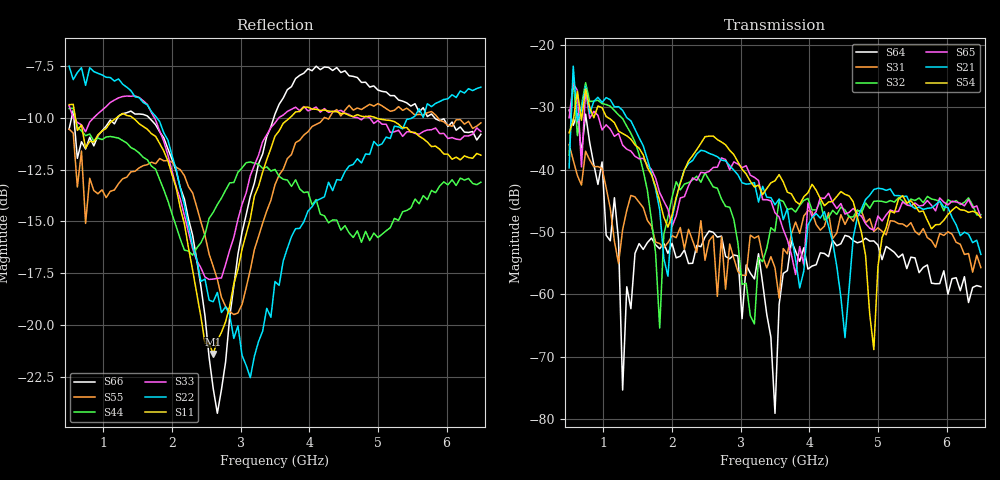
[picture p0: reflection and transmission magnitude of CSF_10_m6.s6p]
!Keysight Technologies,M9804A,MY58100912,A.14.10.03
!Date: Thursday, April 27, 2023 10:28:33
!Correction: S11(C  6-Port  )
!S12(C  6-Port  )
!S13(C  6-Port  )
!S14(C  6-Port  )
!S15(C  6-Port  )
!S16(C  6-Port  )
!S21(C  6-Port  )
!S22(C  6-Port  )
!S23(C  6-Port  )
!S24(C  6-Port  )
!S25(C  6-Port  )
!S26(C  6-Port  )
!S31(C  6-Port  )
!S32(C  6-Port  )
!S33(C  6-Port  )
!S34(C  6-Port  )
!S35(C  6-Port  )
!S36(C  6-Port  )
!S41(C  6-Port  )
!S42(C  6-Port  )
!S43(C  6-Port  )
!S44(C  6-Port  )
!S45(C  6-Port  )
!S46(C  6-Port  )
!S51(C  6-Port  )
!S52(C  6-Port  )
!S53(C  6-Port  )
!S54(C  6-Port  )
!S55(C  6-Port  )
!S56(C  6-Port  )
!S61(C  6-Port  )
!S62(C  6-Port  )
!S63(C  6-Port  )
!S64(C  6-Port  )
!S65(C  6-Port  )
!S66(C  6-Port  )
!S6P File: Measurement: :
# Hz S  RI  R 50
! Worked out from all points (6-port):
!   101 points, 500 MHz to 6.5 GHz, reference 50 ohm
!   strongest paths, dB at 500 MHz, 2 GHz, 3.5 GHz, 5 GHz, 6.5 GHz:
!     S54: -34.1, -47.3, -41.8, -55.6, -47.7
!     S21: -39.7, -47.9, -45.6, -43.0, -53.6
!     S65: -31.7, -49.1, -46.9, -47.4, -47.7
!     S32: -37.7, -44.4, -49.9, -45.0, -47.2
!     S31: -36.0, -50.6, -55.7, -49.3, -55.7
!     S64: -30.5, -51.8, -79.1, -52.1, -58.8
!   lowest |S11| = -21.4 dB at 2.6 GHz (marker M1), VSWR 1.19, Z = 42.4 + j2.19 ohm
!   |S11| at or under -10 dB: 591.4 MHz to 1.189 GHz (597.2 MHz wide, 67.1 % of centre); 1.431 GHz to 3.714 GHz (2.283 GHz wide, 88.7 % of centre); 4.973 GHz to end of sweep
